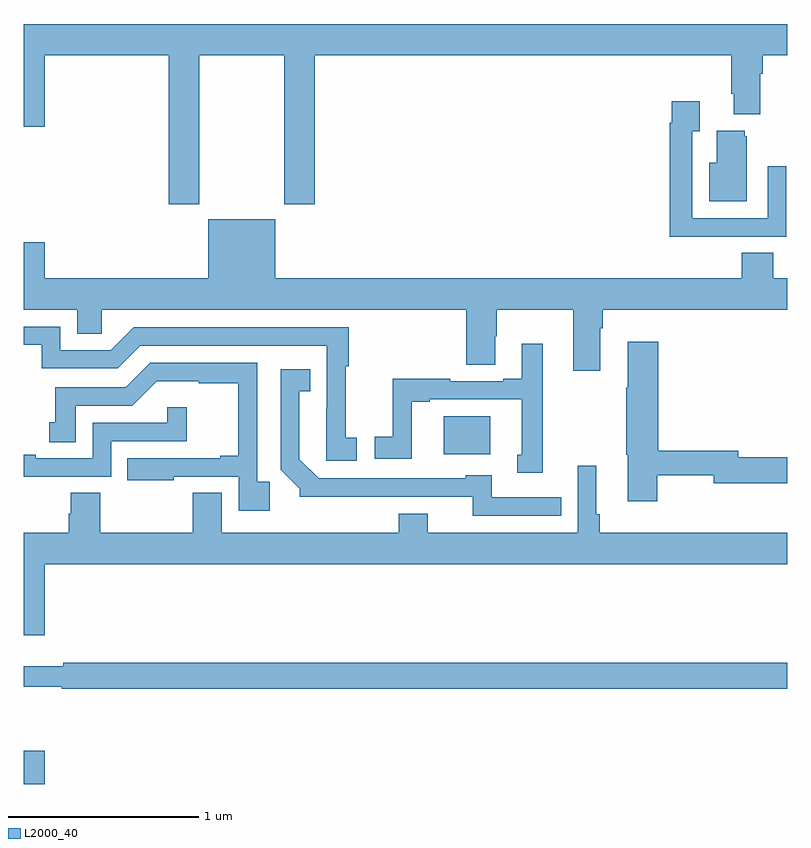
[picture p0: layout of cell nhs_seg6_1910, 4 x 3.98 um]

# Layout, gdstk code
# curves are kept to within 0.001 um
import gdstk
lib = gdstk.Library(unit=1e-6, precision=1e-09)
def R(c, l, rs):  # rectangles x0, y0, x1, y1
    for r in rs: c.add(gdstk.rectangle(r[:2], r[2:], *l))
def P(c, l, *ps):  # polygons
    for p in ps: c.add(gdstk.Polygon(p, *l))
L2000_40 = (2000, 40)

nhs_seg6_1910 = lib.new_cell('nhs_seg6_1910')
R(nhs_seg6_1910, L2000_40, [(225,963.5,225.112,963.673), (227.201,965.228,227.443,965.425)])
P(nhs_seg6_1910, L2000_40, [(225.921,967.316),(226.366,967.316),(226.366,966.537),(226.526,966.537),(226.526,967.316),(228.707,967.316),(228.707,967.114),(228.719,967.114),(228.719,967.007),(228.859,967.007),(228.859,967.22),(228.872,967.22),(228.872,967.316),(229,967.316),(229,967.48),(225,967.48),(225,966.942),(225.112,966.942),(225.112,967.316),(225.761,967.316),(225.761,966.537),(225.921,966.537)],
  [(228.677,966.366),(228.993,966.366),(228.993,966.736),(228.897,966.736),(228.897,966.462),(228.501,966.462),(228.501,966.919),(228.541,966.919),(228.541,967.075),(228.393,967.075),(228.393,966.962),(228.385,966.962),(228.385,966.365),(228.677,966.365)],
  [(228.787,966.891),(228.776,966.891),(228.776,966.922),(228.629,966.922),(228.629,966.754),(228.59,966.754),(228.59,966.551),(228.787,966.551)],
  [(228.019,965.888),(228.032,965.888),(228.032,965.984),(229,965.984),(229,966.148),(228.926,966.148),(228.926,966.281),(228.761,966.281),(228.761,966.148),(226.318,966.148),(226.318,966.457),(225.968,966.457),(225.968,966.148),(225.112,966.148),(225.112,966.337),(225,966.337),(225,965.984),(225.281,965.984),(225.281,965.857),(225.408,965.857),(225.408,965.984),(227.318,965.984),(227.318,965.695),(227.47,965.695),(227.47,965.846),(227.478,965.846),(227.478,965.984),(227.879,965.984),(227.879,965.664),(228.019,965.664)],
  [(226.744,965.313),(226.686,965.313),(226.686,965.689),(226.703,965.689),(226.703,965.892),(225.576,965.892),(225.456,965.772),(225.192,965.772),(225.192,965.895),(225,965.895),(225,965.799),(225.096,965.799),(225.096,965.676),(225.492,965.676),(225.612,965.796),(226.587,965.796),(226.586,965.193),(226.744,965.193)],
  [(228.318,965.118),(228.614,965.118),(228.614,965.075),(229,965.075),(229,965.21),(228.742,965.21),(228.742,965.246),(228.323,965.246),(228.323,965.815),(228.164,965.815),(228.164,965.576),(228.157,965.576),(228.157,965.223),(228.164,965.223),(228.164,964.98),(228.318,964.98)],
  [(227.719,965.806),(227.609,965.806),(227.609,965.623),(227.513,965.623),(227.513,965.61),(227.234,965.61),(227.234,965.623),(226.933,965.623),(226.933,965.318),(226.839,965.318),(226.839,965.202),(227.032,965.202),(227.032,965.502),(227.128,965.502),(227.128,965.514),(227.609,965.514),(227.609,965.223),(227.585,965.223),(227.585,965.129),(227.719,965.129)],
  [(226.289,965.083),(226.224,965.083),(226.224,965.706),(225.663,965.706),(225.534,965.577),(225.167,965.577),(225.167,965.394),(225.134,965.394),(225.134,965.29),(225.274,965.29),(225.274,965.481),(225.57,965.481),(225.698,965.609),(225.917,965.609),(225.917,965.598),(226.123,965.598),(226.123,965.218),(226.031,965.218),(226.031,965.205),(225.544,965.205),(225.544,965.09),(225.787,965.09),(225.787,965.109),(226.128,965.109),(226.128,964.932),(226.289,964.932)],
  [(227.816,965.001),(227.452,965.001),(227.452,965.116),(227.316,965.116),(227.316,965.1),(226.545,965.1),(226.444,965.201),(226.444,965.558),(226.502,965.558),(226.502,965.671),(226.347,965.671),(226.347,965.146),(226.446,965.047),(226.446,965.003),(227.353,965.004),(227.353,964.905),(227.816,964.905)],
  [(225.459,965.295),(225.854,965.295),(225.854,965.473),(225.753,965.473),(225.753,965.391),(225.363,965.391),(225.363,965.205),(225.064,965.205),(225.064,965.225),(225,965.225),(225,965.109),(225.459,965.109)],
  [(225.112,964.652),(229,964.652),(229,964.816),(228.017,964.816),(228.017,964.912),(227.998,964.912),(227.998,965.167),(227.901,965.167),(227.901,964.816),(227.116,964.816),(227.116,964.915),(226.964,964.915),(226.964,964.816),(226.039,964.816),(226.039,965.024),(225.887,965.024),(225.887,964.816),(225.401,964.816),(225.401,965.024),(225.248,965.024),(225.248,964.914),(225.236,964.914),(225.236,964.816),(225,964.816),(225,964.278),(225.112,964.278)],
  [(229,964.136),(225.208,964.136),(225.208,964.117),(225,964.117),(225,964.008),(225.2,964.008),(225.2,964),(229,964)])

lib.write_gds('nhs_seg6_1910.gds')
